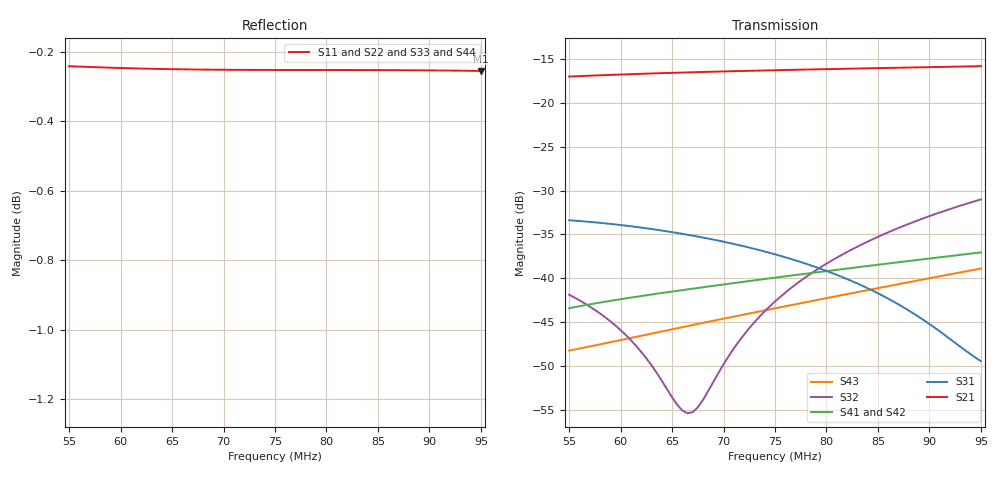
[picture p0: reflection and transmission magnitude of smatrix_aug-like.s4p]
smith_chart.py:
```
#!/usr/bin/env python3
# -*- coding: utf-8 -*-
"""
Created on Thu May 15 15:23:45 2025

@author: YJ281217
"""

# -*- coding: utf-8 -*-
"""
Created on Thu Feb 27 09:36:06 2025

@author: YJ281217
"""

# %%
'import Library or Package and release ram & close fig' 
import numpy as np
from load import fun_load_touchstone as flt
import matplotlib.pyplot as plt
from matplotlib.patches import FancyArrowPatch

# %% define of simth_chart

def smith_Smatrix(S, num=1, display_mode='points_and_arrows'):
    """
    Plot a Smith chart and mark the S-matrix points on it.
    
    Parameters:
    -----------
    S : complex or array of complex
        The S-matrix values to plot on the Smith chart
    num : int
        Figure number
    display_mode : str
        'points_and_arrows': Show points and connect them with arrows (original behavior)
        'line_with_arrow': Only draw lines with arrow at the end point, no points
        'points_only': Only draw points, no lines or arrows
    """
    chart_color = [0.5, 0.5, 0.5]  # Gray color for the chart lines
    
    theta = np.linspace(0, 2*np.pi, 10001)
    rx = [0, 0.2, 0.5, 1, 2, 5, 10]  # Resistance circles
    ry = [0.2, 0.5, 1, 2, 10]  # Reactance circles
    
    fig = plt.figure(num, figsize=(6.5, 5.5))
    ax = fig.add_subplot(111)
    
    # Plot resistance circles
    for r in rx:
        x = 1/(r+1) * np.cos(theta) + r/(r+1)
        y = 1/(r+1) * np.sin(theta)
        ax.plot(x, y, '-', color=chart_color, linewidth=0.5)
    
    # Plot unit circle
    x = np.cos(theta)
    y = np.sin(theta)
    ax.plot(x, y, 'k', linewidth=1)
    
    # Plot horizontal axis
    ax.plot([-1, 1], [0, 0], '-', color=chart_color, linewidth=0.5)
    
    # Plot reactance circles
    for r in ry:
        x = 1/r * np.cos(theta) + 1
        y = 1/r * np.sin(theta) + 1/r
        
        # Filter points to only include those inside the unit circle
        mask = (x**2 + y**2) <= 1
        
        # Plot positive reactance
        ax.plot(x[mask], y[mask], '-', color=chart_color, linewidth=0.5)
        
        # Plot negative reactance
        ax.plot(x[mask], -y[mask], '-', color=chart_color, linewidth=0.5)
    
    ax.set_aspect('equal')
    ax.set_xlim([-1, 1])
    ax.set_ylim([-1, 1])
    ax.axis('off')
    
    # Add annotations
    Z_text_color = [0.5, 0, 0]  # Dark red color for text
    
    # Annotate reactance circles
    for xx in ry:
        alpha_xx = 2 * np.arctan(1/xx)
        ax.text(1.1*np.cos(alpha_xx), 1.1*np.sin(alpha_xx), f"+{xx:.1f}",
                 horizontalalignment='center', verticalalignment='center',
                 fontsize=12, color=Z_text_color)
        ax.text(1.1*np.cos(alpha_xx), -1.1*np.sin(alpha_xx), f"-{xx:.1f}",
                 horizontalalignment='center', verticalalignment='center',
                 fontsize=12, color=Z_text_color)
    
    # Annotate resistance circles
    for rr in rx[1:]:  # Skip the first element (0)
        xc = rr / (1 + rr)  # Circle center x-coordinate
        rd = 1 / (1 + rr)   # Circle radius
        ax.text(xc - rd, 0, f"{rr:.1f}", 
                 horizontalalignment='left', verticalalignment='bottom',
                 color=Z_text_color, rotation=90, fontsize=12)
    
    # Special annotations for 0 and infinity
    ax.text(-1.1, 0, "0.0", 
             horizontalalignment='center', verticalalignment='center',
             color=Z_text_color, fontsize=12)
    ax.text(1.1, 0, "$\infty$", 
             horizontalalignment='center', verticalalignment='center',
             color=Z_text_color, fontsize=12)
    
    # Ensure S is a numpy array
    S = np.asarray(S)
    
    # Handle different display modes
    if len(S) > 1:
        if display_mode == 'points_only':
            # Only draw points, no lines or arrows
            ax.scatter(np.real(S), np.imag(S), marker='*', color='blue', s=120, linewidth=2, zorder=5)
            
            # Add point labels
            #for i, s_point in enumerate(S):
               # ax.text(np.real(s_point) + 0.05, np.imag(s_point) + 0.05, f"S{i+1}",
                      #  fontsize=10, color='blue', zorder=6)
                
        elif display_mode == 'line_with_arrow':
            # Draw only line with arrow at end, no points
            if len(S) > 1:
                # Create a single continuous line through all points
                x_points = np.real(S)
                y_points = np.imag(S)
                
                # Draw the main line without the last segment
                if len(S) > 2:
                    ax.plot(x_points[:-1], y_points[:-1], '-', color='blue', linewidth=2, zorder=4)
                
                # Draw the last segment with an arrow
                arrow = FancyArrowPatch(
                    (x_points[-2], y_points[-2]),  # Start from second-to-last point
                    (x_points[-1], y_points[-1]),  # End at last point
                    arrowstyle='-|>', 
                    mutation_scale=15,
                    color='blue',
                    linewidth=2,
                    zorder=4
                )
                ax.add_patch(arrow)
                
                # Add point labels if desired (commented out by default)
                # for i, s_point in enumerate(S):
                #     ax.text(np.real(s_point) + 0.05, np.imag(s_point) + 0.05, f"S{i+1}",
                #             fontsize=10, color='blue', zorder=6)
                
        else:  # 'points_and_arrows' (default behavior)
            # Draw points
            ax.scatter(np.real(S), np.imag(S), marker='o', color='blue', s=60, zorder=5)
            
            # Add arrows connecting points in sequence
            for i in range(len(S) - 1):
                start = (np.real(S[i]), np.imag(S[i]))
                end = (np.real(S[i+1]), np.imag(S[i+1]))
                
                arrow = FancyArrowPatch(
                    start, end, 
                    arrowstyle='-|>', 
                    mutation_scale=15,  # Arrow size
                    color='red',
                    linewidth=2,
                    zorder=4
                )
                ax.add_patch(arrow)
            
            # Add point labels
            #for i, s_point in enumerate(S):
               # ax.text(np.real(s_point) + 0.05, np.imag(s_point) + 0.05, f"S{i+1}",
                       # fontsize=10, color='blue', zorder=6)
    else:
        # Single point case - always draw the point
        ax.scatter(np.real(S), np.imag(S), marker='*', color='blue', s=120, linewidth=1.5, zorder=5)
    
    fig.set_facecolor('white')
    
    return fig

# Example usage:
if __name__ == "__main__":
    # Example S-parameters (complex values inside the unit circle)
    S = np.array([0.3 + 0.4j, -0.2 + 0.6j, -0.5 - 0.3j])
    
    # Create three figures to demonstrate all modes
    smith_Smatrix(S, 1, display_mode='points_and_arrows')
    
    smith_Smatrix(S, 2, display_mode='line_with_arrow')
    
    smith_Smatrix(S, 3, display_mode='points_only')
    # %% data file
    pre = 'example/'
    fname = 'smatrix_aug-like.s4p'
    fre_unit = 'Hz'
    # %% read data
    fre_units = {'MHz':1e6,'Hz':1}
    fre_u = fre_units[fre_unit]
    #load s4p file, trans to freauency and Smatrix
    fre,S = flt(pre+fname)
    fre = fre*fre_u
    # %% set the data
    x= fre
    S11 = np.array([Smatrix[0,0] for Smatrix in S])
    # %% plot smith chart
    smith_Smatrix(S11, 4,display_mode='line_with_arrow')
    plt.show()
```
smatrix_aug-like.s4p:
! TOUCHSTONE file generated by CST MICROWAVE STUDIO
! Date and time: Sat Mar 20 20:07:13 2021
! Project name: test_v14dpp.cst
! Parameters = {addx=1; addy=1; ant_d=0.2; ant_h=0.63; ant_w=0.885; bars_diameter=0.018; bars_distance=0.0357647; bars_no=16; box_left_xc=-0.095; box_mid_w=0.225; box_mid_xc=0.1875; box_outer_w=0.28; bridge_h=0.04; bridge_outer_yc=0; bridge_thickness=0.02; clearance=0.062; coax_a=0.054; coax_b=0.081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
! Header version: 2018
! Port assignment regex: !\s*Touchstone port\s*([0-9]+)\s*=\s*(CST MWS port|CST DS port)\s*([0-9]+|Zmin|Zmax)\s*\(\"(.*)\"\)(\s*mode\s*([0-9]+))?.*
! Touchstone port assignment:
! Touchstone port 1 = CST MWS port 1 ("")
! Touchstone port 2 = CST MWS port 2 ("")
! Touchstone port 3 = CST MWS port 3 ("")
! Touchstone port 4 = CST MWS port 4 ("")
! S-Parameters are not renormalized. Unphysical impedance of 50 will be written to the file.
# MHz S MA R 50
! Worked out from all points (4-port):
!   81 points, 55 MHz to 95 MHz, reference per port
!   strongest paths, dB at 55 MHz, 65 MHz, 75 MHz, 85 MHz, 95 MHz:
!     S21: -17.0, -16.6, -16.3, -16.0, -15.8
!     S31: -33.4, -34.7, -37.3, -41.7, -49.4
!     S41: -43.4, -41.5, -39.9, -38.4, -37.0
!     S42: -43.3, -41.5, -40.0, -38.6, -37.4
!     S32: -41.9, -53.6, -42.6, -35.3, -31.0
!     S43: -48.2, -45.8, -43.4, -41.1, -38.9
!   lowest |S11| = -0.3 dB at 95 MHz (marker M1), VSWR 68.32
!   |S11| at or under -10 dB: nowhere
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55  0.9727 67.6  0.1414 -18.7  0.02143 -21.3  0.006749 1.4
    0.1414 -18.7  0.9729 67.6  0.008071 -38.9  0.006872 -178.1
    0.02144 -21.3  0.008071 -38.9  0.9754 66.6  0.003873 -0.6
    0.006751 1.4  0.006873 -178.0  0.003874 -0.6  0.9754 91.8
67  0.9716 50.4  0.1496 -36.1  0.01751 -41.2  0.008728 -20.6
    0.1496 -36.1  0.9718 50.3  0.001725 -149.3  0.008765 159.6
    0.01751 -41.2  0.001725 -149.3  0.9705 39.4  0.005415 -28.9
    0.008731 -20.6  0.008766 159.6  0.005416 -28.9  0.9711 70.0
95  0.9711 16.1  0.1621 -70.8  0.003372 -41.1  0.01405 -71.0
    0.1621 -70.8  0.9707 16.0  0.02818 79.1  0.01349 108.1
    0.003373 -41.1  0.02818 79.1  0.9587 -35.3  0.01136 -104.6
    0.01406 -71.0  0.01349 108.1  0.01137 -104.6  0.9635 12.4
